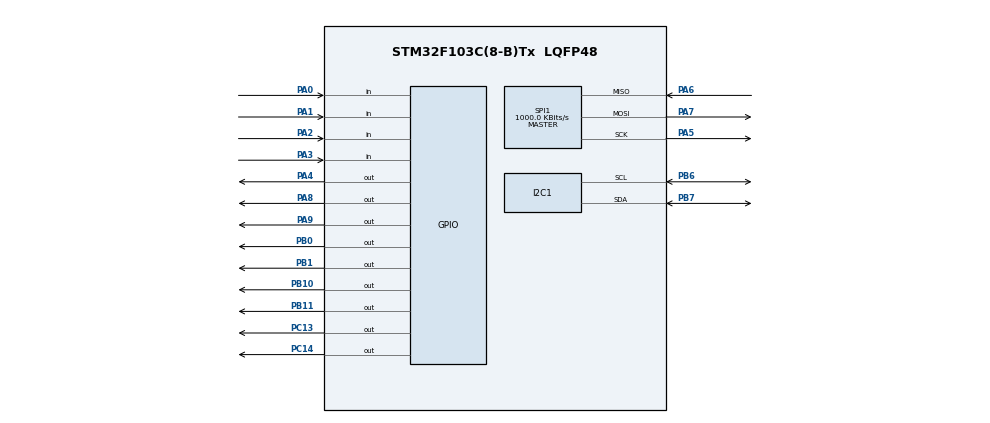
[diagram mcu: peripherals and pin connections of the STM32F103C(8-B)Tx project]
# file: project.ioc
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Mcu.Family=STM32F1
Mcu.Name=STM32F103C(8-B)Tx
Mcu.Package=LQFP48
NVIC.PriorityGroup=NVIC_PRIORITYGROUP_4
PA0-WKUP.GPIO_Mode=GPIO_MODE_INPUT
PA0-WKUP.GPIO_PuPd=GPIO_PULLUP
PA0-WKUP.Signal=GPIO_Input
PA1.GPIO_Mode=GPIO_MODE_INPUT
PA1.GPIO_PuPd=GPIO_PULLUP
PA1.Signal=GPIO_Input
PA13.Mode=Serial_Wire
PA13.Signal=SYS_JTMS-SWDIO
PA14.Mode=Serial_Wire
PA14.Signal=SYS_JTCK-SWCLK
PA2.GPIO_Mode=GPIO_MODE_INPUT
PA2.GPIO_PuPd=GPIO_PULLUP
PA2.Signal=GPIO_Input
PA3.GPIO_Mode=GPIO_MODE_INPUT
PA3.GPIO_PuPd=GPIO_PULLUP
PA3.Signal=GPIO_Input
PA4.Signal=GPIO_Output
PA5.Mode=Full_Duplex_Master
PA5.Signal=SPI1_SCK
PA6.Mode=Full_Duplex_Master
PA6.Signal=SPI1_MISO
PA7.Mode=Full_Duplex_Master
PA7.Signal=SPI1_MOSI
PA8.Signal=GPIO_Output
PA9.Signal=GPIO_Output
PB0.PinState=GPIO_PIN_SET
PB0.Signal=GPIO_Output
PB1.PinState=GPIO_PIN_SET
PB1.Signal=GPIO_Output
PB10.PinState=GPIO_PIN_SET
PB10.Signal=GPIO_Output
PB11.PinState=GPIO_PIN_SET
PB11.Signal=GPIO_Output
PB6.Mode=I2C
PB6.Signal=I2C1_SCL
PB7.Mode=I2C
PB7.Signal=I2C1_SDA
PC13-TAMPER-RTC.PinState=GPIO_PIN_SET
PC13-TAMPER-RTC.Signal=GPIO_Output
PC14-OSC32_IN.Signal=GPIO_Output
PD0-OSC_IN.Mode=HSE-External-Oscillator
PD0-OSC_IN.Signal=RCC_OSC_IN
PD1-OSC_OUT.Mode=HSE-External-Oscillator
PD1-OSC_OUT.Signal=RCC_OSC_OUT
ProjectManager.HeapSize=0x200
ProjectManager.StackSize=0x400
ProjectManager.TargetToolchain=MDK-ARM V5.32
RCC.APB1Freq_Value=8000000
RCC.APB2Freq_Value=8000000
SPI1.BaudRatePrescaler=SPI_BAUDRATEPRESCALER_8
SPI1.CalculateBaudRate=1000.0 KBits/s
SPI1.Direction=SPI_DIRECTION_2LINES
SPI1.Mode=SPI_MODE_MASTER
SPI1.VirtualType=VM_MASTER
board=custom

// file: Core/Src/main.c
/* USER CODE BEGIN Header */
/**
  ******************************************************************************
  * @file           : main.c
  * @brief          : Main program body
  ******************************************************************************
  * @attention
  *
  * Copyright (c) 2024 STMicroelectronics.
  * All rights reserved.
  *
  * This software is licensed under terms that can be found in the LICENSE file
  * in the root directory of this software component.
  * If no LICENSE file comes with this software, it is provided AS-IS.
  *
  ******************************************************************************
  */
/* USER CODE END Header */
#include "main.h"

/* USER CODE BEGIN Includes */

#include "lib_project.h"

/* USER CODE END Includes */

I2C_HandleTypeDef hi2c1;

SPI_HandleTypeDef hspi1;

void SystemClock_Config(void);
static void MX_GPIO_Init(void);
static void MX_I2C1_Init(void);
static void MX_SPI1_Init(void);

/* USER CODE BEGIN 0 */
int8_t key;
uint8_t status;
uint8_t str[MAX_LEN];
int8_t keypass[6];

/* USER CODE END 0 */

int main(void)
{

  /* MCU Configuration--------------------------------------------------------*/

  /* Reset of all peripherals, Initializes the Flash interface and the Systick. */
  HAL_Init();

  /* Configure the system clock */
  SystemClock_Config();

  /* Initialize all configured peripherals */
  MX_GPIO_Init();
  MX_I2C1_Init();
  MX_SPI1_Init();
  /* USER CODE BEGIN 2 */
	MFRC522_Init();
	ssd1306_init();
	ssd1306_clear_screen(0x00);
	ssd1306_display_string(32, 15, (uint8_t*)"WELCOME", 16,1);
	ssd1306_refresh_gram();
	begin_pass(keypass,6,-1);

	//init_mainKey();
	//init_main_Card();

  /* USER CODE END 2 */

  /* Infinite loop */
  /* USER CODE BEGIN WHILE */
  while (1)
  {

		status = MFRC522_Request(PICC_REQIDL,str);
		if(status == MI_OK){
			begin_pass(keypass,6,-1);
			if(!MFRC522_Anticoll(str)){
				uint8_t swapArr[4];
				swapToArr(str,swapArr);
				if(!Check_Input_Card(swapArr)){
					ssd1306_clear_screen(0);
					ssd1306_display_string(22,15,(uint8_t*)"Card Valid",16,1);
					ssd1306_refresh_gram();
					UnClock_Door();
				}
				else{
					ssd1306_clear_screen(0);
					ssd1306_display_string(22,15,(uint8_t*)"Card Invalid",16,1);
					ssd1306_refresh_gram();
					HAL_Delay(3000);
					clearScreen();
				}
			}
		}

		key = read_keypad();
		if(key != 0x01){
				Input_Key(key,keypass);
		}

    /* USER CODE END WHILE */

  }
}

void SystemClock_Config(void)
{
  RCC_OscInitTypeDef RCC_OscInitStruct = {0};
  RCC_ClkInitTypeDef RCC_ClkInitStruct = {0};

  /** Initializes the RCC Oscillators according to the specified parameters
  * in the RCC_OscInitTypeDef structure.
  */
  RCC_OscInitStruct.OscillatorType = RCC_OSCILLATORTYPE_HSI;
  RCC_OscInitStruct.HSIState = RCC_HSI_ON;
  RCC_OscInitStruct.HSICalibrationValue = RCC_HSICALIBRATION_DEFAULT;
  RCC_OscInitStruct.PLL.PLLState = RCC_PLL_NONE;
  if (HAL_RCC_OscConfig(&RCC_OscInitStruct) != HAL_OK)
  {
    Error_Handler();
  }

  /** Initializes the CPU, AHB and APB buses clocks
  */
  RCC_ClkInitStruct.ClockType = RCC_CLOCKTYPE_HCLK|RCC_CLOCKTYPE_SYSCLK
                              |RCC_CLOCKTYPE_PCLK1|RCC_CLOCKTYPE_PCLK2;
  RCC_ClkInitStruct.SYSCLKSource = RCC_SYSCLKSOURCE_HSI;
  RCC_ClkInitStruct.AHBCLKDivider = RCC_SYSCLK_DIV1;
  RCC_ClkInitStruct.APB1CLKDivider = RCC_HCLK_DIV1;
  RCC_ClkInitStruct.APB2CLKDivider = RCC_HCLK_DIV1;

  if (HAL_RCC_ClockConfig(&RCC_ClkInitStruct, FLASH_LATENCY_0) != HAL_OK)
  {
    Error_Handler();
  }
}

static void MX_I2C1_Init(void)
{

  hi2c1.Instance = I2C1;
  hi2c1.Init.ClockSpeed = 100000;
  hi2c1.Init.DutyCycle = I2C_DUTYCYCLE_2;
  hi2c1.Init.OwnAddress1 = 0;
  hi2c1.Init.AddressingMode = I2C_ADDRESSINGMODE_7BIT;
  hi2c1.Init.DualAddressMode = I2C_DUALADDRESS_DISABLE;
  hi2c1.Init.OwnAddress2 = 0;
  hi2c1.Init.GeneralCallMode = I2C_GENERALCALL_DISABLE;
  hi2c1.Init.NoStretchMode = I2C_NOSTRETCH_DISABLE;
  if (HAL_I2C_Init(&hi2c1) != HAL_OK)
  {
    Error_Handler();
  }

}

static void MX_SPI1_Init(void)
{

  /* SPI1 parameter configuration*/
  hspi1.Instance = SPI1;
  hspi1.Init.Mode = SPI_MODE_MASTER;
  hspi1.Init.Direction = SPI_DIRECTION_2LINES;
  hspi1.Init.DataSize = SPI_DATASIZE_8BIT;
  hspi1.Init.CLKPolarity = SPI_POLARITY_LOW;
  hspi1.Init.CLKPhase = SPI_PHASE_1EDGE;
  hspi1.Init.NSS = SPI_NSS_SOFT;
  hspi1.Init.BaudRatePrescaler = SPI_BAUDRATEPRESCALER_8;
  hspi1.Init.FirstBit = SPI_FIRSTBIT_MSB;
  hspi1.Init.TIMode = SPI_TIMODE_DISABLE;
  hspi1.Init.CRCCalculation = SPI_CRCCALCULATION_DISABLE;
  hspi1.Init.CRCPolynomial = 10;
  if (HAL_SPI_Init(&hspi1) != HAL_OK)
  {
    Error_Handler();
  }

}

static void MX_GPIO_Init(void)
{
  GPIO_InitTypeDef GPIO_InitStruct = {0};

  /* GPIO Ports Clock Enable */
  __HAL_RCC_GPIOC_CLK_ENABLE();
  __HAL_RCC_GPIOD_CLK_ENABLE();
  __HAL_RCC_GPIOA_CLK_ENABLE();
  __HAL_RCC_GPIOB_CLK_ENABLE();

  /*Configure GPIO pin Output Level */
  HAL_GPIO_WritePin(GPIOC, GPIO_PIN_13, GPIO_PIN_SET);

  /*Configure GPIO pin Output Level */
  HAL_GPIO_WritePin(GPIOC, GPIO_PIN_14, GPIO_PIN_RESET);

  /*Configure GPIO pin Output Level */
  HAL_GPIO_WritePin(GPIOA, GPIO_PIN_4|GPIO_PIN_8|GPIO_PIN_9, GPIO_PIN_RESET);

  /*Configure GPIO pin Output Level */
  HAL_GPIO_WritePin(GPIOB, GPIO_PIN_0|GPIO_PIN_1|GPIO_PIN_10|GPIO_PIN_11, GPIO_PIN_SET);

  /*Configure GPIO pins : PC13 PC14 */
  GPIO_InitStruct.Pin = GPIO_PIN_13|GPIO_PIN_14;
  GPIO_InitStruct.Mode = GPIO_MODE_OUTPUT_PP;
  GPIO_InitStruct.Pull = GPIO_NOPULL;
  GPIO_InitStruct.Speed = GPIO_SPEED_FREQ_LOW;
  HAL_GPIO_Init(GPIOC, &GPIO_InitStruct);

  /*Configure GPIO pins : PA0 PA1 PA2 PA3 */
  GPIO_InitStruct.Pin = GPIO_PIN_0|GPIO_PIN_1|GPIO_PIN_2|GPIO_PIN_3;
  GPIO_InitStruct.Mode = GPIO_MODE_INPUT;
  GPIO_InitStruct.Pull = GPIO_PULLUP;
  HAL_GPIO_Init(GPIOA, &GPIO_InitStruct);

  /*Configure GPIO pins : PA4 PA8 PA9 */
  GPIO_InitStruct.Pin = GPIO_PIN_4|GPIO_PIN_8|GPIO_PIN_9;
  GPIO_InitStruct.Mode = GPIO_MODE_OUTPUT_PP;
  GPIO_InitStruct.Pull = GPIO_NOPULL;
  GPIO_InitStruct.Speed = GPIO_SPEED_FREQ_LOW;
  HAL_GPIO_Init(GPIOA, &GPIO_InitStruct);

  /*Configure GPIO pins : PB0 PB1 PB10 PB11 */
  GPIO_InitStruct.Pin = GPIO_PIN_0|GPIO_PIN_1|GPIO_PIN_10|GPIO_PIN_11;
  GPIO_InitStruct.Mode = GPIO_MODE_OUTPUT_PP;
  GPIO_InitStruct.Pull = GPIO_NOPULL;
  GPIO_InitStruct.Speed = GPIO_SPEED_FREQ_LOW;
  HAL_GPIO_Init(GPIOB, &GPIO_InitStruct);

}

void Error_Handler(void)
{
  __disable_irq();
  while (1)
  {
  }
}
